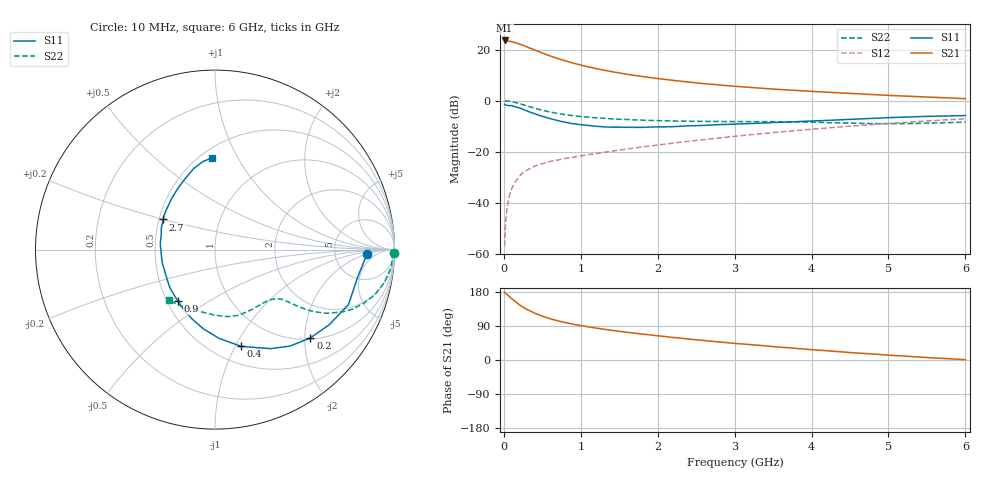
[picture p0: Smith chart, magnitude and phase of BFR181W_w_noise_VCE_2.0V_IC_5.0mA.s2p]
! Infineon Technologies  Discrete & RF Semiconductors
! BFR181W
! VCE =  2.0 V,  IC =  5.0 mA
! Common Emitter S-Parameters:  Jan 2017
# GHz  S  MA  R  50
!  f  S11  S21  S12  S22
! GHz  MAG  ANG  MAG  ANG  MAG  ANG  MAG  ANG
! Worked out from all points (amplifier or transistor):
!   77 points, 10 MHz to 6 GHz, reference 50 ohm
!   highest |S21| = 23.7 dB at 10 MHz (marker M1)
!   |S21| within 3 dB of that: start of sweep to 339 MHz
!   unconditionally stable (mu >= 1): 1.286 GHz to 3.362 GHz
!   at 130 MHz: K = 0.17, MSG = 27.9 dB, |S12| = -32.8 dB
!   at 2.2 GHz: K = 1.09, MAG = 10.5 dB, |S12| = -16.6 dB
!   at 6 GHz: K = 0.85, MSG = 3.9 dB, |S12| = -7.1 dB
!   lowest NFmin = 0.97 dB at 450 MHz
!   S11 on the Smith chart (normalised r, x): 10 MHz: 12, -2; 200 MHz: 1.03, -2.13; 400 MHz: 0.67, -1.06; 900 MHz: 0.57, -0.38; 2.7 GHz: 0.53, +0.20; 6 GHz: 0.57, +0.79
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0.01  0.8473 -1.6  15.26 179.2  0.0014 89.5  0.9969 -1.1
0.02  0.827 -5.9  15.07 176.4  0.0033 93.5  0.9896 -2.0
0.04  0.8142 -9.4  14.97 172.9  0.0073 85.4  0.9876 -4.4
0.1  0.8045 -22.3  14.45 162.2  0.0186 78.6  0.9611 -11.0
0.15  0.762 -33.3  13.84 154.0  0.026 73.5  0.9255 -15.8
0.2  0.7242 -42.8  13.04 146.2  0.0326 68.9  0.8816 -19.8
0.25  0.6805 -52.2  12.25 139.3  0.0389 65.6  0.8372 -23.3
0.3  0.6333 -60.6  11.41 133.3  0.0433 62.4  0.7919 -26.0
0.4  0.5588 -74.8  9.935 123.4  0.0522 58.4  0.7142 -29.8
0.5  0.4949 -87.4  8.632 115.6  0.0582 55.6  0.6507 -32.1
0.6  0.4467 -98.2  7.601 109.0  0.0645 55.0  0.6015 -33.5
0.7  0.4077 -108.1  6.747 103.5  0.0687 54.8  0.5632 -34.2
0.9  0.3543 -125.5  5.488 94.5  0.0781 55.0  0.5095 -35.4
1.1  0.328 -140.4  4.624 87.5  0.0879 56.4  0.4758 -36.2
1.3  0.3076 -153.6  3.983 81.2  0.0972 57.3  0.4524 -37.4
1.6  0.3011 -170.0  3.313 73.2  0.113 59.1  0.4291 -40.0
2.1  0.3079 168.6  2.616 61.8  0.1414 60.5  0.4039 -46.5
2.7  0.3339 149.8  2.105 49.6  0.1795 60.4  0.3925 -56.4
3.1  0.3522 139.5  1.879 42.3  0.2078 59.3  0.3893 -63.2
4.1  0.4061 118.9  1.501 25.9  0.284 54.4  0.3762 -81.4
5.1  0.4715 103.4  1.257 11.6  0.3671 46.8  0.3549 -107.4
6  0.5121 91.9  1.1 0.8  0.4431 38.3  0.3823 -132.2
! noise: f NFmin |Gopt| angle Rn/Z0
0.45  0.97  0.33  16  0.23
0.9  1.03  0.3  30  0.23
1.9  1.44  0.15  80  0.2
2.4  1.59  0.13  94  0.22
